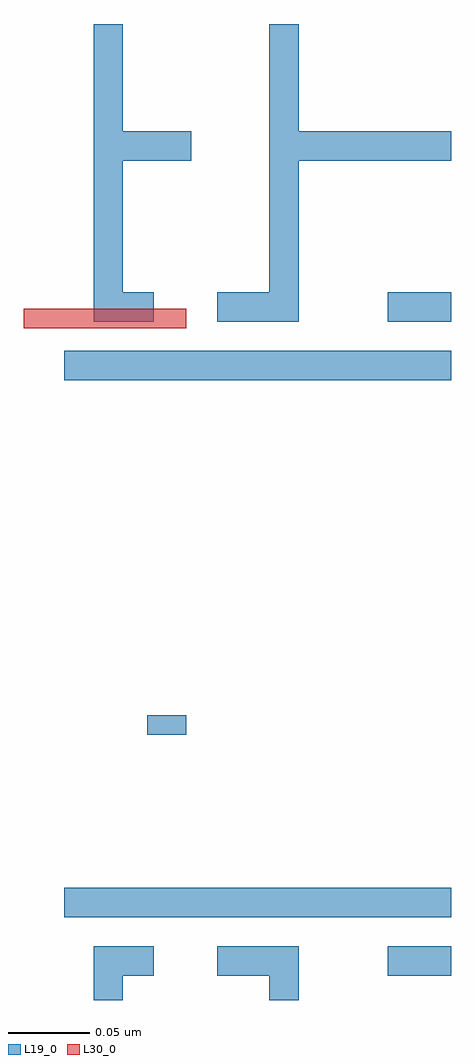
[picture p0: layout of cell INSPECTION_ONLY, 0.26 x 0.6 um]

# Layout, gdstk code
import gdstk
lib = gdstk.Library(unit=1e-6, precision=2.5e-10)
def R(c, l, rs):  # rectangles x0, y0, x1, y1
    for r in rs: c.add(gdstk.rectangle(r[:2], r[2:], *l))
def P(c, l, *ps):  # polygons
    for p in ps: c.add(gdstk.Polygon(p, *l))
L19_0 = (19, 0)
L30_0 = (30, 0)

inspection_only = lib.new_cell('INSPECTION_ONLY')
R(inspection_only, L19_0, [(2.199,0.225,2.238,0.243), (2,0.261,2.238,0.279), (2.051,0.373,2.075,0.385), (2,0.591,2.238,0.609), (2.199,0.627,2.238,0.645)])
P(inspection_only, L19_0, [(2.126,0.21),(2.126,0.225),(2.094,0.225),(2.094,0.243),(2.144,0.243),(2.144,0.21)],
  [(2.018,0.21),(2.018,0.243),(2.055,0.243),(2.055,0.225),(2.036,0.225),(2.036,0.21)],
  [(2.094,0.627),(2.094,0.645),(2.126,0.645),(2.126,0.81),(2.144,0.81),(2.144,0.744),(2.238,0.744),(2.238,0.726),(2.144,0.726),(2.144,0.627)],
  [(2.018,0.627),(2.018,0.81),(2.036,0.81),(2.036,0.744),(2.078,0.744),(2.078,0.726),(2.036,0.726),(2.036,0.645),(2.055,0.645),(2.055,0.627)])
R(inspection_only, L30_0, [(1.975,0.623,2.075,0.635)])

lib.write_gds('INSPECTION_ONLY.gds')
